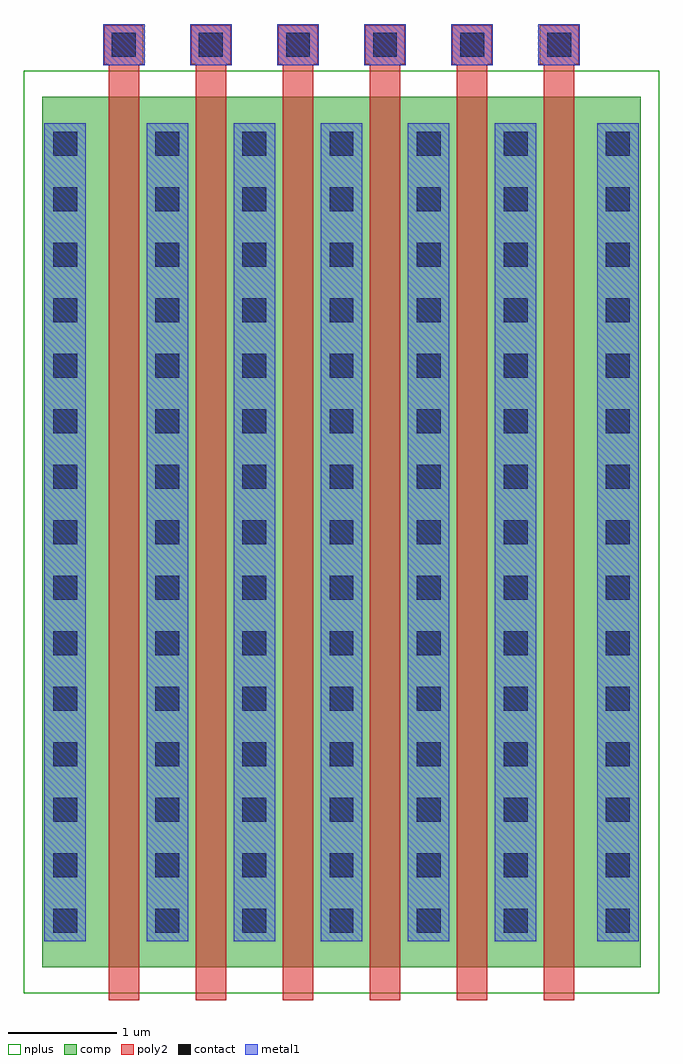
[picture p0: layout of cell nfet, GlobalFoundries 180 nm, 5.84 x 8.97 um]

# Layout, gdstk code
import gdstk
lib = gdstk.Library(unit=1e-6, precision=5e-09)
def R(c, l, rs):  # rectangles x0, y0, x1, y1
    for r in rs: c.add(gdstk.rectangle(r[:2], r[2:], *l))
def A(c, l, x, y, w, h, nx, ny, dx, dy):  # array of equal rectangles
    R(c, l, [(x+i*dx, y+j*dy, x+i*dx+w, y+j*dy+h) for i in range(nx) for j in range(ny)])
comp = (22, 0)
poly2 = (30, 0)
nplus = (32, 0)
contact = (33, 0)
metal1 = (34, 0)

nfet = lib.new_cell('nfet')
R(nfet, comp, [(-0.42,0,0,8), (0,0,4.66,8), (4.66,0,5.08,8)])
A(nfet, poly2, 0.19, -0.3, 0.28, 8.6, 6, 1, 0.8, 0)
A(nfet, poly2, 0.15, 8.3, 0.36, 0.36, 6, 1, 0.8, 0)
R(nfet, nplus, [(-0.59,-0.24,5.25,8.24)])
A(nfet, contact, -0.32, 0.32, 0.22, 0.22, 1, 15, 0, 0.51)
A(nfet, contact, 0.62, 0.32, 0.22, 0.22, 5, 15, 0.8, 0.51)
A(nfet, contact, 4.76, 0.32, 0.22, 0.22, 1, 15, 0, 0.51)
A(nfet, contact, 0.22, 8.37, 0.22, 0.22, 6, 1, 0.8, 0)
A(nfet, metal1, 0.54, 0.24, 0.38, 7.52, 5, 1, 0.8, 0)
A(nfet, metal1, 0.14, 8.29, 0.38, 0.38, 6, 1, 0.8, 0)
R(nfet, metal1, [(-0.4,0.24,-0.02,7.76), (4.68,0.24,5.06,7.76)])

lib.write_gds('nfet.gds')
